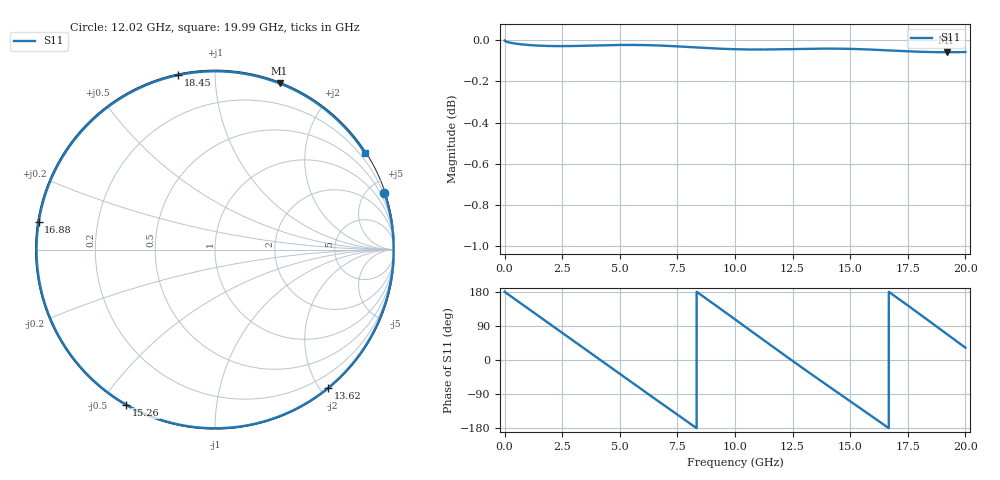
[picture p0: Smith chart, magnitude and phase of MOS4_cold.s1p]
# GHz S RI R 50
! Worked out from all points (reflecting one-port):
!   10001 points, 1 MHz to 20 GHz, reference 50 ohm
!   lowest |S11| = -0.1 dB at 19.19 GHz (marker M1), VSWR 300.23, Z = 0.522 + j73.1 ohm
!   phase of S11 starts at 180 deg and turns -867 deg over the sweep
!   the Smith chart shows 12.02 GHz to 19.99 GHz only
!   S11 on the Smith chart (normalised r, x): 12.02 GHz: 0.10, +6.14; 13.62 GHz: 0.01, -2.12; 15.26 GHz: 0.00, -0.58; 16.88 GHz: 0.00, +0.08; 18.45 GHz: 0.01, +0.81; 19.99 GHz: 0.04, +3.39
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0.001  -0.9999 0.000839
0.665  -0.8741 0.4813
1.397  -0.4903 0.8682
2.501  0.316 0.9453
3.807  0.9643 0.2534
4.395  0.9797 -0.1864
5.001  0.7971 -0.5995
5.647  0.426 -0.9019
6.247  -0.00727 -0.9973
6.849  -0.4395 -0.8949
7.501  -0.8069 -0.585
8.109  -0.9816 -0.1698
8.697  -0.959 0.268
10.001  -0.2966 0.9498
10.943  0.4082 0.9073
12.019  0.9436 0.3155
12.501  0.9942 -0.043
13.623  0.6317 -0.7692
14.321  0.1706 -0.9806
15.001  -0.3201 -0.9423
15.261  -0.4933 -0.8643
16.113  -0.9075 -0.4073
16.879  -0.9825 0.152
17.501  -0.804 0.5843
18.445  -0.207 0.9717
19.187  0.3597 0.926
19.993  0.8346 0.5389
20.001  0.8379 0.5337
